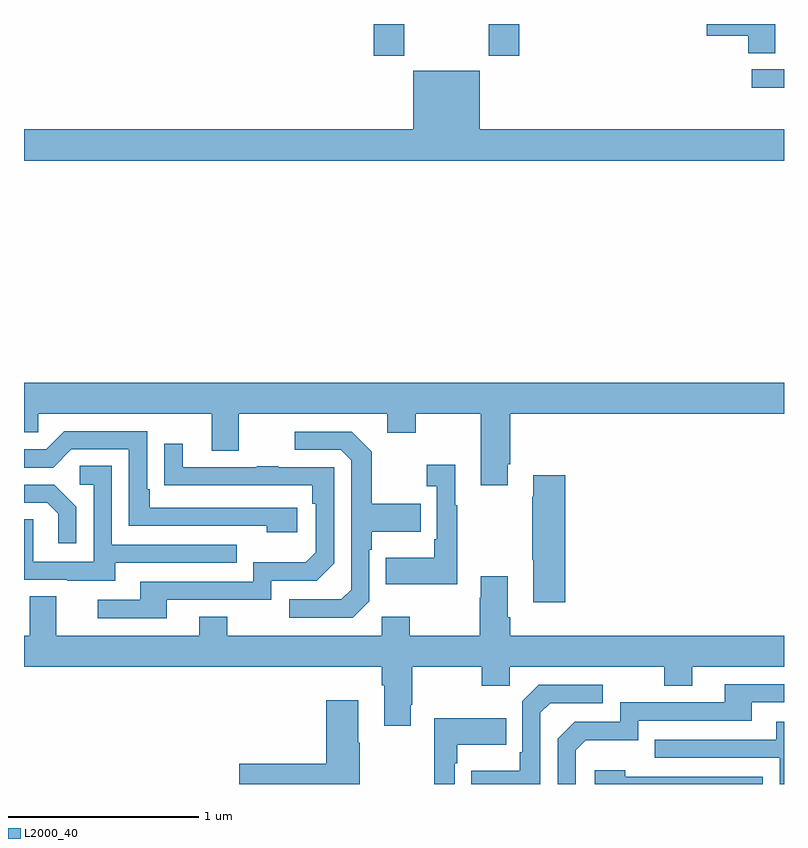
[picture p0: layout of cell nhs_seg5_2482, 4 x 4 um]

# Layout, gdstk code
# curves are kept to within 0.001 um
import gdstk
lib = gdstk.Library(unit=1e-6, precision=1e-09)
def R(c, l, rs):  # rectangles x0, y0, x1, y1
    for r in rs: c.add(gdstk.rectangle(r[:2], r[2:], *l))
def P(c, l, *ps):  # polygons
    for p in ps: c.add(gdstk.Polygon(p, *l))
L2000_40 = (2000, 40)

nhs_seg5_2482 = lib.new_cell('nhs_seg5_2482')
R(nhs_seg5_2482, L2000_40, [(258.831,870.463,259,870.561), (256.841,870.633,257.001,870.799), (257.446,870.633,257.606,870.799)])
P(nhs_seg5_2482, L2000_40, [(258.955,870.799),(258.594,870.799),(258.594,870.737),(258.812,870.737),(258.812,870.646),(258.955,870.646)],
  [(259,870.244),(257.398,870.244),(257.398,870.553),(257.048,870.553),(257.048,870.244),(255,870.244),(255,870.08),(259,870.08)],
  [(257.545,868.483),(257.558,868.483),(257.558,868.748),(259,868.748),(259,868.912),(255,868.912),(255,868.65),(255.075,868.65),(255.075,868.748),(255.989,868.748),(255.989,868.554),(256.129,868.554),(256.129,868.748),(256.913,868.748),(256.913,868.649),(257.061,868.649),(257.061,868.748),(257.405,868.748),(257.405,868.371),(257.545,868.371)],
  [(256.438,868.254),(255.661,868.254),(255.661,868.351),(255.648,868.351),(255.648,868.656),(255.213,868.656),(255.117,868.56),(255,868.56),(255,868.464),(255.153,868.464),(255.249,868.56),(255.552,868.56),(255.552,868.158),(256.277,868.158),(256.277,868.124),(256.438,868.124)],
  [(256.818,867.762),(256.818,868.031),(256.831,868.031),(256.831,868.127),(257.087,868.127),(257.087,868.275),(256.831,868.275),(256.831,868.547),(256.725,868.653),(256.425,868.653),(256.425,868.557),(256.668,868.557),(256.722,868.503),(256.722,867.822),(256.671,867.771),(256.395,867.771),(256.395,867.675),(256.731,867.675)],
  [(255.751,867.768),(256.302,867.768),(256.302,867.87),(256.542,867.87),(256.632,867.96),(256.632,868.467),(256.337,868.467),(256.337,868.472),(256.225,868.472),(256.225,868.467),(255.835,868.467),(255.835,868.591),(255.739,868.591),(255.739,868.372),(256.516,868.371),(256.516,868.274),(256.536,868.274),(256.536,868.02),(256.483,867.967),(256.206,867.967),(256.206,867.864),(255.611,867.864),(255.611,867.768),(255.387,867.768),(255.387,867.672),(255.751,867.672)],
  [(257.281,868.267),(257.269,868.267),(257.269,868.48),(257.121,868.48),(257.121,868.367),(257.172,868.367),(257.172,868.087),(257.16,868.087),(257.16,867.991),(256.903,867.991),(256.903,867.851),(257.281,867.851)],
  [(255.481,867.963),(256.121,867.963),(256.121,868.059),(255.462,868.059),(255.462,868.475),(255.294,868.475),(255.294,868.374),(255.366,868.374),(255.366,867.969),(255.048,867.969),(255.048,868.193),(255,868.193),(255,867.873),(255.227,867.873),(255.227,867.869),(255.481,867.869)],
  [(257.849,868.423),(257.681,868.423),(257.681,868.31),(257.674,868.31),(257.674,867.979),(257.681,867.979),(257.681,867.756),(257.849,867.756)],
  [(255.276,868.258),(255.16,868.374),(255,868.374),(255,868.278),(255.122,868.278),(255.179,868.221),(255.179,868.065),(255.276,868.065)],
  [(257.035,867.217),(257.043,867.217),(257.043,867.416),(257.41,867.416),(257.41,867.317),(257.556,867.317),(257.556,867.416),(258.37,867.416),(258.37,867.317),(258.517,867.317),(258.517,867.416),(259,867.416),(259,867.58),(257.558,867.58),(257.558,867.676),(257.545,867.676),(257.545,867.892),(257.405,867.892),(257.405,867.779),(257.398,867.779),(257.398,867.58),(257.031,867.58),(257.031,867.679),(256.884,867.679),(256.884,867.58),(256.071,867.58),(256.071,867.679),(255.923,867.679),(255.923,867.58),(255.169,867.58),(255.169,867.788),(255.029,867.788),(255.029,867.58),(255,867.58),(255,867.416),(256.883,867.416),(256.883,867.32),(256.895,867.32),(256.895,867.105),(257.035,867.105)],
  [(257.904,866.976),(257.957,867.029),(258.234,867.029),(258.234,867.132),(258.829,867.132),(258.829,867.228),(259,867.228),(259,867.324),(258.689,867.324),(258.689,867.228),(258.138,867.228),(258.138,867.126),(257.898,867.126),(257.808,867.036),(257.808,866.799),(257.904,866.799)],
  [(257.718,867.174),(257.769,867.225),(258.046,867.225),(258.046,867.321),(257.709,867.321),(257.622,867.234),(257.622,866.965),(257.61,866.965),(257.61,866.869),(257.353,866.869),(257.353,866.799),(257.718,866.799)],
  [(256.767,867.017),(256.759,867.017),(256.759,867.241),(256.592,867.241),(256.592,866.906),(256.134,866.906),(256.134,866.799),(256.767,866.799)],
  [(257.268,866.909),(257.281,866.909),(257.281,867.005),(257.537,867.005),(257.537,867.145),(257.16,867.145),(257.16,866.799),(257.268,866.799)],
  [(259,867.127),(258.959,867.127),(258.959,867.033),(258.319,867.033),(258.319,866.937),(258.978,866.937),(258.978,866.799),(259,866.799)],
  [(258.888,866.838),(258.164,866.838),(258.164,866.872),(258.003,866.872),(258.003,866.799),(258.888,866.799)])

lib.write_gds('nhs_seg5_2482.gds')
